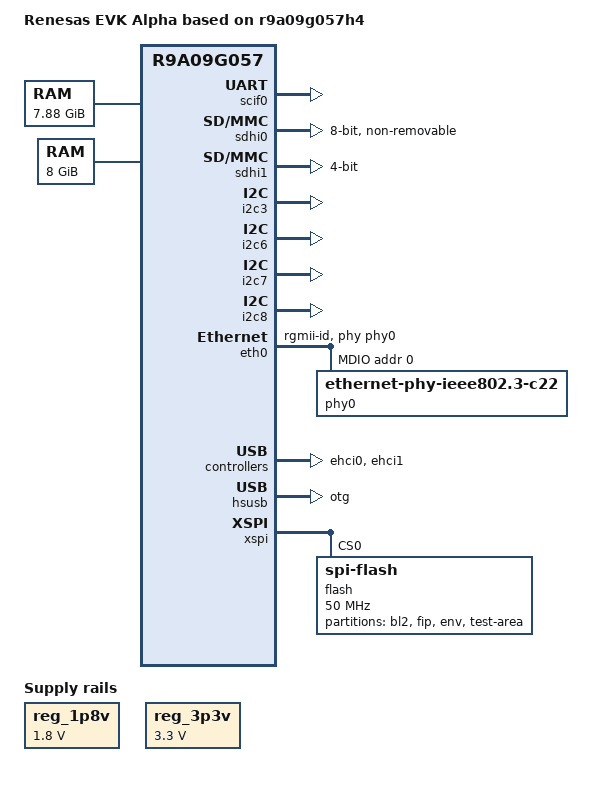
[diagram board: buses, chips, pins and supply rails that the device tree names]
// SPDX-License-Identifier: (GPL-2.0-only OR BSD-2-Clause)
/*
 * Device Tree Source for the RZ/V2H EVK Alpha board
 *
 * Copyright (C) 2023 Renesas Electronics Corp.
 */

/dts-v1/;
#include <dt-bindings/gpio/gpio.h>
#include "r9a09g057.dtsi"
#include <dt-bindings/pinctrl/rzv2h-pinctrl.h>
#include "r9a09g057-u-boot.dtsi"

/*
 * Jumper setting
 *
 * Please change the jumper setting corresponding to below Macros:
 *
 * SW2-4 SD0 Selector (SEL_SD0): 1: eMMC (default);	0: SD
 */

#define SEL_SD0		1

/ {
	model = "Renesas EVK Alpha based on r9a09g057h4";
	compatible = "renesas,r9a09g057h4-dev", "renesas,r9a09g057h4", "renesas,r9a09g057";

	aliases {
		serial0 = &scif0;
		mmc0 = &sdhi0;
		mmc1 = &sdhi1;
		i2c3 = &i2c3;
		i2c6 = &i2c6;
		i2c7 = &i2c7;
		i2c8 = &i2c8;
		spi0 = &xspi;
	};

	chosen {
		stdout-path = "serial0:115200n8";
	};

	memory@48000000 {
		device_type = "memory";
		/* first 128MB is reserved for secure area. */
		reg = <0x0 0x48000000 0x1 0xF8000000>;
	};

	memory@240000000 {
		device_type = "memory";
		reg = <0x2 0x40000000 0x2 0x00000000>;
	};

	reserved-memory {
		#address-cells = <2>;
		#size-cells = <2>;
		ranges;

		global_cma: linux,cma@58000000 {
			compatible = "shared-dma-pool";
			linux,cma-default;
			reusable;
			reg = <0x0 0x58000000 0x0 0x10000000>;
		};
	};

	reg_1p8v: regulator0 {
		compatible = "regulator-fixed";

		regulator-name = "fixed-1.8V";
		regulator-min-microvolt = <1800000>;
		regulator-max-microvolt = <1800000>;
		regulator-boot-on;
		regulator-always-on;
	};

	reg_3p3v: regulator1 {
		compatible = "regulator-fixed";

		regulator-name = "fixed-3.3V";
		regulator-min-microvolt = <3300000>;
		regulator-max-microvolt = <3300000>;
		regulator-boot-on;
		regulator-always-on;
	};

};

&pinctrl {
#if (!SEL_SD0)
	/* Support pinctrl for SD function of SDHI0 */
	sdhi0_pins: sd0 {
		pinmux = <RZV2H_PINMUX(10, 5, 15)>; /* SD0_CD */
	};
#endif
	sdhi1_pins: sd1 {
		pinmux = <RZV2H_PINMUX(9, 4, 14)>; /* SD1_CD */
	};
};

&extal_clk {
	clock-frequency = <24000000>;
};

&scif0 {
	status = "okay";
};

#if (SEL_SD0)
&sdhi0 {
	bus-width = <8>;
	non-removable;
	fixed-emmc-driver-type = <1>;
	status = "okay";
};
#else
&sdhi0 {
	pinctrl-0 = <&sdhi0_pins>;
	pinctrl-names = "default";
	bus-width = <4>;
	status = "okay";
};
#endif

&sdhi1 {
	bus-width = <4>;
	status = "okay";
};

&i2c3 {
	status = "okay";
};

&i2c6 {
	status = "okay";
};

&i2c7 {
	status = "okay";
};

&i2c8 {
	status = "okay";
};

&eth0 {
	status = "okay";
	phy-handle = <&phy0>;
	phy-mode = "rgmii-id";

	mdio {
		#address-cells = <1>;
		#size-cells = <0>;

		phy0: ethernet-phy@0 {
			compatible = "ethernet-phy-ieee802.3-c22";
			reg = <0>;
		};
	};
};

&ehci0 {
	status = "okay";
};

&ehci1 {
	status = "okay";
};

&hsusb {
	dr_mode = "otg";
	status = "okay";
};

&xspi {
	status = "okay";

	flash@0 {
		compatible = "spi-flash", "jedec,spi-nor";
		reg = <0>;
		m25p,fast-read;
		spi-max-frequency = <50000000>;
		spi-tx-bus-width = <1>;
		spi-rx-bus-width = <1>;

		partitions {
			compatible = "fixed-partitions";
			#address-cells = <1>;
			#size-cells = <1>;

			partition@000000 {
				label = "bl2";
				reg = <0x00000000 0x0001D200>;
				read-only;
			};
			partition@01D200 {
				label = "fip";
				reg = <0x0001D200 0x001C2E00>;
				read-only;
			};
			partition@1E0000 {
				label = "env";
				reg = <0x001E0000 0x00020000>;
				read-only;
			};
			partition@200000 {
				label = "test-area";
				reg = <0x00200000 0x00E00000>;
			};
		};
	};
};
